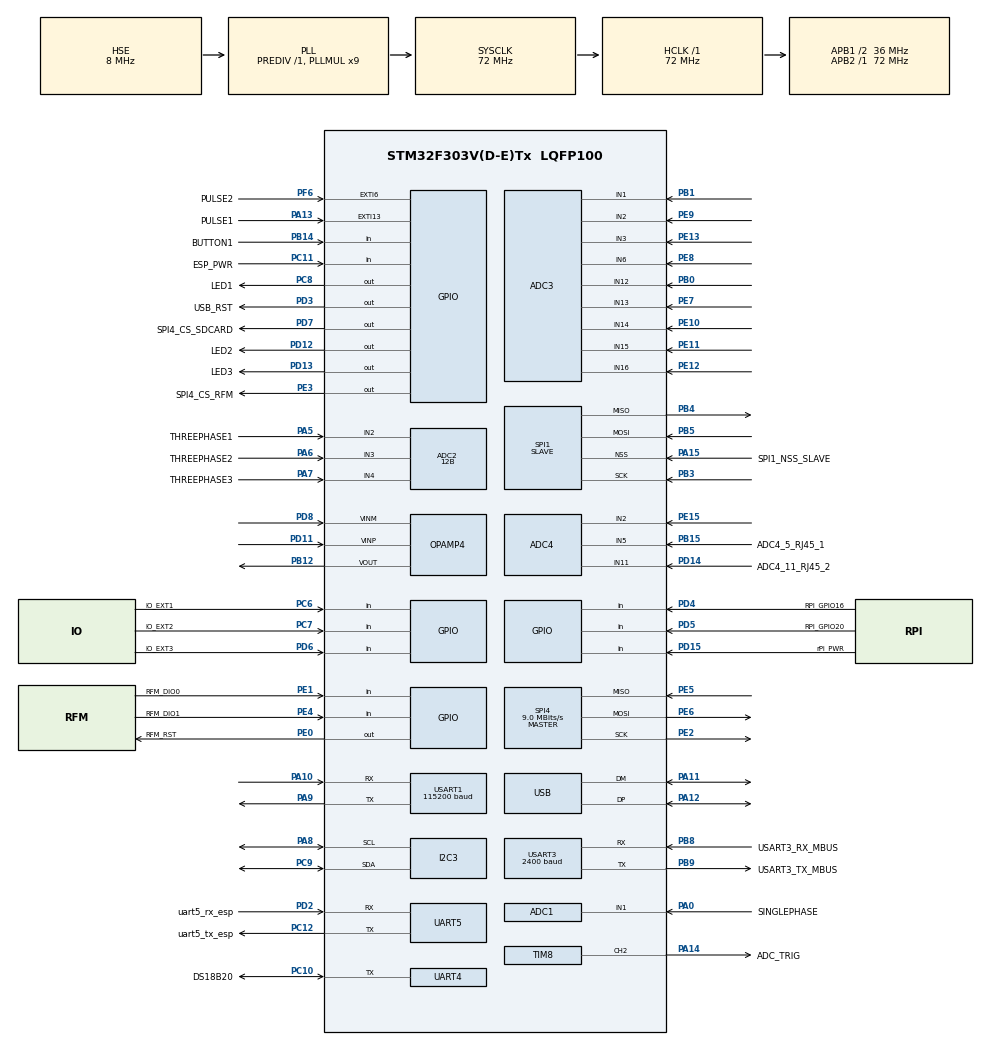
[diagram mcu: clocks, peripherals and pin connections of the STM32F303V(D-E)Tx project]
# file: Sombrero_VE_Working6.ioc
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ADC1.Channel-0\#ChannelRegularConversion=ADC_CHANNEL_1
ADC1.ClockPrescaler=ADC_CLOCK_SYNC_PCLK_DIV4
ADC1.ContinuousConvMode=ENABLE
ADC1.DMAContinuousRequests=ENABLE
ADC1.DataAlign=ADC_DATAALIGN_RIGHT
ADC1.DiscontinuousConvMode=DISABLE
ADC1.EOCSelection=ADC_EOC_SEQ_CONV
ADC1.EnableAnalogWatchDog1=false
ADC1.EnableAnalogWatchDog2=false
ADC1.EnableAnalogWatchDog3=false
ADC1.EnableInjectedConversion=DISABLE
ADC1.EnableRegularConversion=ENABLE
ADC1.ExternalTrigConv=ADC_EXTERNALTRIGCONV_T8_TRGO2
ADC1.ExternalTrigConvEdge=ADC_EXTERNALTRIGCONVEDGE_FALLING
ADC1.LowPowerAutoWait=DISABLE
ADC1.NbrOfConversion=1
ADC1.NbrOfConversionFlag=1
ADC1.Offset-0\#ChannelRegularConversion=0
ADC1.OffsetNumber-0\#ChannelRegularConversion=ADC_OFFSET_NONE
ADC1.Overrun=ADC_OVR_DATA_OVERWRITTEN
ADC1.Rank-0\#ChannelRegularConversion=1
ADC1.Resolution=ADC_RESOLUTION_12B
ADC1.SamplingTime-0\#ChannelRegularConversion=ADC_SAMPLETIME_181CYCLES_5
ADC1.ScanConvMode=ADC_SCAN_DISABLE
ADC1.master=1
ADC2.Channel-0\#ChannelRegularConversion=ADC_CHANNEL_2
ADC2.Channel-1\#ChannelRegularConversion=ADC_CHANNEL_3
ADC2.Channel-2\#ChannelRegularConversion=ADC_CHANNEL_4
ADC2.ClockPrescaler=ADC_CLOCK_SYNC_PCLK_DIV4
ADC2.ContinuousConvMode=ENABLE
ADC2.DMAContinuousRequests=ENABLE
ADC2.DataAlign=ADC_DATAALIGN_RIGHT
ADC2.DiscontinuousConvMode=DISABLE
ADC2.EOCSelection=ADC_EOC_SEQ_CONV
ADC2.EnableAnalogWatchDog1=false
ADC2.EnableAnalogWatchDog2=false
ADC2.EnableAnalogWatchDog3=false
ADC2.EnableInjectedConversion=ENABLE
ADC2.EnableRegularConversion=ENABLE
ADC2.ExternalTrigConv=ADC_EXTERNALTRIGCONV_T8_TRGO2
ADC2.ExternalTrigConvEdge=ADC_EXTERNALTRIGCONVEDGE_FALLING
ADC2.InjNumberOfConversion=0
ADC2.LowPowerAutoWait=DISABLE
ADC2.NbrOfConversion=3
ADC2.NbrOfConversionFlag=1
ADC2.Offset-0\#ChannelRegularConversion=0
ADC2.Offset-1\#ChannelRegularConversion=0
ADC2.Offset-2\#ChannelRegularConversion=0
ADC2.OffsetNumber-0\#ChannelRegularConversion=ADC_OFFSET_NONE
ADC2.OffsetNumber-1\#ChannelRegularConversion=ADC_OFFSET_NONE
ADC2.OffsetNumber-2\#ChannelRegularConversion=ADC_OFFSET_NONE
ADC2.Overrun=ADC_OVR_DATA_OVERWRITTEN
ADC2.Rank-0\#ChannelRegularConversion=1
ADC2.Rank-1\#ChannelRegularConversion=2
ADC2.Rank-2\#ChannelRegularConversion=3
ADC2.Resolution=ADC_RESOLUTION_12B
ADC2.SamplingTime-0\#ChannelRegularConversion=ADC_SAMPLETIME_181CYCLES_5
ADC2.SamplingTime-1\#ChannelRegularConversion=ADC_SAMPLETIME_181CYCLES_5
ADC2.SamplingTime-2\#ChannelRegularConversion=ADC_SAMPLETIME_181CYCLES_5
ADC2.ScanConvMode=ADC_SCAN_ENABLE
ADC3.Channel-0\#ChannelRegularConversion=ADC_CHANNEL_12
ADC3.Channel-1\#ChannelRegularConversion=ADC_CHANNEL_1
ADC3.Channel-2\#ChannelRegularConversion=ADC_CHANNEL_13
ADC3.Channel-3\#ChannelRegularConversion=ADC_CHANNEL_6
ADC3.Channel-4\#ChannelRegularConversion=ADC_CHANNEL_2
ADC3.Channel-5\#ChannelRegularConversion=ADC_CHANNEL_14
ADC3.Channel-6\#ChannelRegularConversion=ADC_CHANNEL_15
ADC3.Channel-7\#ChannelRegularConversion=ADC_CHANNEL_16
ADC3.Channel-8\#ChannelRegularConversion=ADC_CHANNEL_3
ADC3.ClockPrescaler=ADC_CLOCK_SYNC_PCLK_DIV4
ADC3.ContinuousConvMode=ENABLE
ADC3.DMAContinuousRequests=ENABLE
ADC3.EOCSelection=ADC_EOC_SEQ_CONV
ADC3.EnableInjectedConversion=DISABLE
ADC3.ExternalTrigConv=ADC_EXTERNALTRIGCONV_T8_TRGO2
ADC3.NbrOfConversion=9
ADC3.NbrOfConversionFlag=1
ADC3.Offset-0\#ChannelRegularConversion=0
ADC3.Offset-1\#ChannelRegularConversion=0
ADC3.Offset-2\#ChannelRegularConversion=0
ADC3.Offset-3\#ChannelRegularConversion=0
ADC3.Offset-4\#ChannelRegularConversion=0
ADC3.Offset-5\#ChannelRegularConversion=0
ADC3.Offset-6\#ChannelRegularConversion=0
ADC3.Offset-7\#ChannelRegularConversion=0
ADC3.Offset-8\#ChannelRegularConversion=0
ADC3.OffsetNumber-0\#ChannelRegularConversion=ADC_OFFSET_NONE
ADC3.OffsetNumber-1\#ChannelRegularConversion=ADC_OFFSET_NONE
ADC3.OffsetNumber-2\#ChannelRegularConversion=ADC_OFFSET_NONE
ADC3.OffsetNumber-3\#ChannelRegularConversion=ADC_OFFSET_NONE
ADC3.OffsetNumber-4\#ChannelRegularConversion=ADC_OFFSET_NONE
ADC3.OffsetNumber-5\#ChannelRegularConversion=ADC_OFFSET_NONE
ADC3.OffsetNumber-6\#ChannelRegularConversion=ADC_OFFSET_NONE
ADC3.OffsetNumber-7\#ChannelRegularConversion=ADC_OFFSET_NONE
ADC3.OffsetNumber-8\#ChannelRegularConversion=ADC_OFFSET_NONE
ADC3.Rank-0\#ChannelRegularConversion=1
ADC3.Rank-1\#ChannelRegularConversion=2
ADC3.Rank-2\#ChannelRegularConversion=3
ADC3.Rank-3\#ChannelRegularConversion=4
ADC3.Rank-4\#ChannelRegularConversion=5
ADC3.Rank-5\#ChannelRegularConversion=6
ADC3.Rank-6\#ChannelRegularConversion=7
ADC3.Rank-7\#ChannelRegularConversion=8
ADC3.Rank-8\#ChannelRegularConversion=9
ADC3.SamplingTime-0\#ChannelRegularConversion=ADC_SAMPLETIME_181CYCLES_5
ADC3.SamplingTime-1\#ChannelRegularConversion=ADC_SAMPLETIME_181CYCLES_5
ADC3.SamplingTime-2\#ChannelRegularConversion=ADC_SAMPLETIME_181CYCLES_5
ADC3.SamplingTime-3\#ChannelRegularConversion=ADC_SAMPLETIME_181CYCLES_5
ADC3.SamplingTime-4\#ChannelRegularConversion=ADC_SAMPLETIME_181CYCLES_5
ADC3.SamplingTime-5\#ChannelRegularConversion=ADC_SAMPLETIME_181CYCLES_5
ADC3.SamplingTime-6\#ChannelRegularConversion=ADC_SAMPLETIME_181CYCLES_5
ADC3.SamplingTime-7\#ChannelRegularConversion=ADC_SAMPLETIME_181CYCLES_5
ADC3.SamplingTime-8\#ChannelRegularConversion=ADC_SAMPLETIME_181CYCLES_5
ADC3.master=1
ADC4.Channel-0\#ChannelRegularConversion=ADC_CHANNEL_11
ADC4.ClockPrescaler=ADC_CLOCK_SYNC_PCLK_DIV4
ADC4.NbrOfConversionFlag=1
ADC4.Offset-0\#ChannelRegularConversion=0
ADC4.OffsetNumber-0\#ChannelRegularConversion=ADC_OFFSET_NONE
ADC4.Rank-0\#ChannelRegularConversion=1
ADC4.SamplingTime-0\#ChannelRegularConversion=ADC_SAMPLETIME_4CYCLES_5
Dma.ADC1.3.Direction=DMA_PERIPH_TO_MEMORY
Dma.ADC1.3.Instance=DMA1_Channel1
Dma.ADC1.3.MemDataAlignment=DMA_MDATAALIGN_HALFWORD
Dma.ADC1.3.MemInc=DMA_MINC_ENABLE
Dma.ADC1.3.Mode=DMA_CIRCULAR
Dma.ADC1.3.PeriphDataAlignment=DMA_PDATAALIGN_HALFWORD
Dma.ADC1.3.PeriphInc=DMA_PINC_DISABLE
Dma.ADC1.3.Priority=DMA_PRIORITY_HIGH
Dma.ADC2.4.Direction=DMA_PERIPH_TO_MEMORY
Dma.ADC2.4.Instance=DMA2_Channel1
Dma.ADC2.4.MemDataAlignment=DMA_MDATAALIGN_HALFWORD
Dma.ADC2.4.MemInc=DMA_MINC_ENABLE
Dma.ADC2.4.Mode=DMA_CIRCULAR
Dma.ADC2.4.PeriphDataAlignment=DMA_PDATAALIGN_HALFWORD
Dma.ADC2.4.PeriphInc=DMA_PINC_DISABLE
Dma.ADC2.4.Priority=DMA_PRIORITY_HIGH
Dma.ADC3.2.Direction=DMA_PERIPH_TO_MEMORY
Dma.ADC3.2.Instance=DMA2_Channel5
Dma.ADC3.2.MemDataAlignment=DMA_MDATAALIGN_HALFWORD
Dma.ADC3.2.MemInc=DMA_MINC_ENABLE
Dma.ADC3.2.Mode=DMA_CIRCULAR
Dma.ADC3.2.PeriphDataAlignment=DMA_PDATAALIGN_HALFWORD
Dma.ADC3.2.PeriphInc=DMA_PINC_DISABLE
Dma.ADC3.2.Priority=DMA_PRIORITY_HIGH
Dma.Request0=USART1_RX
Dma.Request1=USART3_RX
Dma.Request2=ADC3
Dma.Request3=ADC1
Dma.Request4=ADC2
Dma.USART1_RX.0.Direction=DMA_PERIPH_TO_MEMORY
Dma.USART1_RX.0.Instance=DMA1_Channel5
Dma.USART1_RX.0.MemDataAlignment=DMA_MDATAALIGN_BYTE
Dma.USART1_RX.0.MemInc=DMA_MINC_ENABLE
Dma.USART1_RX.0.Mode=DMA_NORMAL
Dma.USART1_RX.0.PeriphDataAlignment=DMA_PDATAALIGN_BYTE
Dma.USART1_RX.0.PeriphInc=DMA_PINC_DISABLE
Dma.USART1_RX.0.Priority=DMA_PRIORITY_LOW
Dma.USART3_RX.1.Direction=DMA_PERIPH_TO_MEMORY
Dma.USART3_RX.1.Instance=DMA1_Channel3
Dma.USART3_RX.1.MemDataAlignment=DMA_MDATAALIGN_BYTE
Dma.USART3_RX.1.MemInc=DMA_MINC_ENABLE
Dma.USART3_RX.1.Mode=DMA_NORMAL
Dma.USART3_RX.1.PeriphDataAlignment=DMA_PDATAALIGN_BYTE
Dma.USART3_RX.1.PeriphInc=DMA_PINC_DISABLE
Dma.USART3_RX.1.Priority=DMA_PRIORITY_LOW
I2C3.Timing=0x10808DD3
Mcu.Family=STM32F3
Mcu.Name=STM32F303V(D-E)Tx
Mcu.Package=LQFP100
NVIC.ADC1_2_IRQn=true\:0\:0\:false\:false\:true\:true
NVIC.ADC3_IRQn=true\:0\:0\:false\:false\:true\:true
NVIC.DMA1_Channel1_IRQn=true\:0\:0\:false\:false\:true\:false
NVIC.DMA1_Channel3_IRQn=true\:0\:0\:false\:false\:true\:false
NVIC.DMA1_Channel5_IRQn=true\:0\:0\:false\:false\:true\:false
NVIC.DMA2_Channel1_IRQn=true\:0\:0\:false\:false\:true\:false
NVIC.DMA2_Channel5_IRQn=true\:0\:0\:false\:false\:true\:false
NVIC.EXTI15_10_IRQn=true\:0\:0\:false\:false\:true\:true
NVIC.EXTI9_5_IRQn=true\:0\:0\:false\:false\:true\:true
NVIC.PriorityGroup=NVIC_PRIORITYGROUP_4
NVIC.TIM1_UP_TIM16_IRQn=true\:0\:0\:false\:false\:true\:true
NVIC.USART1_IRQn=true\:0\:0\:false\:false\:true\:true
NVIC.USART3_IRQn=true\:0\:0\:false\:false\:true\:true
OPAMP4.SelfCalibration=Enable
OPAMP4.UserTrimming=OPAMP_TRIMMING_USER
PA0.GPIO_Label=SINGLEPHASE
PA0.Mode=IN1-Single-Ended
PA0.Signal=ADC1_IN1
PA10.GPIO_PuPd=GPIO_PULLDOWN
PA10.Mode=Asynchronous
PA10.Signal=USART1_RX
PA11.Mode=Device
PA11.Signal=USB_DM
PA12.Mode=Device
PA12.Signal=USB_DP
PA13.GPIO_Label=PULSE1
PA13.Signal=GPXTI13
PA14.GPIO_Label=ADC_TRIG
PA14.Signal=S_TIM8_CH2
PA15.GPIO_Label=SPI1_NSS_SLAVE
PA15.GPIO_PuPd=GPIO_PULLDOWN
PA15.Mode=NSS_Signal_Hard_Input
PA15.Signal=SPI1_NSS
PA5.GPIO_Label=THREEPHASE1
PA5.Mode=IN2-Single-Ended
PA5.Signal=ADC2_IN2
PA6.GPIO_Label=THREEPHASE2
PA6.Mode=IN3-Single-Ended
PA6.Signal=ADC2_IN3
PA7.GPIO_Label=THREEPHASE3
PA7.Mode=IN4-Single-Ended
PA7.Signal=ADC2_IN4
PA8.Mode=I2C
PA8.Signal=I2C3_SCL
PA9.GPIO_PuPd=GPIO_PULLDOWN
PA9.Mode=Asynchronous
PA9.Signal=USART1_TX
PB0.Mode=IN12-Single-Ended
PB0.Signal=ADC3_IN12
PB1.Mode=IN1-Single-Ended
PB1.Signal=ADC3_IN1
PB12.Mode=Standalone
PB12.Signal=OPAMP4_VOUT
PB14.GPIO_Label=BUTTON1
PB14.GPIO_PuPd=GPIO_PULLDOWN
PB14.Signal=GPIO_Input
PB15.GPIO_Label=ADC4_5_RJ45_1
PB15.Mode=IN5-Single-Ended
PB15.Signal=ADC4_IN5
PB3.GPIO_PuPd=GPIO_PULLDOWN
PB3.Mode=Full_Duplex_Slave
PB3.Signal=SPI1_SCK
PB4.GPIO_PuPd=GPIO_PULLDOWN
PB4.Mode=Full_Duplex_Slave
PB4.Signal=SPI1_MISO
PB5.GPIO_PuPd=GPIO_PULLDOWN
PB5.Mode=Full_Duplex_Slave
PB5.Signal=SPI1_MOSI
PB8.GPIO_Label=USART3_RX_MBUS
PB8.GPIO_PuPd=GPIO_PULLDOWN
PB8.Mode=Asynchronous
PB8.Signal=USART3_RX
PB9.GPIO_Label=USART3_TX_MBUS
PB9.GPIO_PuPd=GPIO_PULLDOWN
PB9.Mode=Asynchronous
PB9.Signal=USART3_TX
PC10.GPIO_Label=DS18B20
PC10.Mode=Half_duplex(single_wire_mode)
PC10.Signal=UART4_TX
PC11.GPIO_Label=ESP_PWR
PC11.GPIO_PuPd=GPIO_PULLDOWN
PC11.Signal=GPIO_Input
PC12.GPIO_Label=uart5_tx_esp
PC12.Mode=Asynchronous
PC12.Signal=UART5_TX
PC14-OSC32_IN.Mode=LSE-External-Oscillator
PC14-OSC32_IN.Signal=RCC_OSC32_IN
PC15-OSC32_OUT.Mode=LSE-External-Oscillator
PC15-OSC32_OUT.Signal=RCC_OSC32_OUT
PC6.GPIO_Label=IO_EXT1
PC6.GPIO_PuPd=GPIO_PULLDOWN
PC6.Signal=GPIO_Input
PC7.GPIO_Label=IO_EXT2
PC7.GPIO_PuPd=GPIO_PULLDOWN
PC7.Signal=GPIO_Input
PC8.GPIO_Label=LED1
PC8.Signal=GPIO_Output
PC9.Mode=I2C
PC9.Signal=I2C3_SDA
PD11.Mode=Standalone
PD11.Signal=OPAMP4_VINP
PD12.GPIO_Label=LED2
PD12.Signal=GPIO_Output
PD13.GPIO_Label=LED3
PD13.Signal=GPIO_Output
PD14.GPIO_Label=ADC4_11_RJ45_2
PD14.Signal=ADCx_IN11
PD15.GPIO_Label=rPi_PWR
PD15.GPIO_PuPd=GPIO_PULLDOWN
PD15.Signal=GPIO_Input
PD2.GPIO_Label=uart5_rx_esp
PD2.Mode=Asynchronous
PD2.Signal=UART5_RX
PD3.GPIO_Label=USB_RST
PD3.PinState=GPIO_PIN_SET
PD3.Signal=GPIO_Output
PD4.GPIO_Label=RPI_GPIO16
PD4.Signal=GPIO_Input
PD5.GPIO_Label=RPI_GPIO20
PD5.Signal=GPIO_Input
PD6.GPIO_Label=IO_EXT3
PD6.GPIO_PuPd=GPIO_PULLDOWN
PD6.Signal=GPIO_Input
PD7.GPIO_Label=SPI4_CS_SDCARD
PD7.Signal=GPIO_Output
PD8.Mode=Standalone
PD8.Signal=OPAMP4_VINM
PE0.GPIO_Label=RFM_RST
PE0.GPIO_PuPd=GPIO_PULLDOWN
PE0.Signal=GPIO_Output
PE1.GPIO_Label=RFM_DIO0
PE1.GPIO_PuPd=GPIO_PULLDOWN
PE1.Signal=GPIO_Input
PE10.Mode=IN14-Single-Ended
PE10.Signal=ADC3_IN14
PE11.Mode=IN15-Single-Ended
PE11.Signal=ADC3_IN15
PE12.Mode=IN16-Single-Ended
PE12.Signal=ADC3_IN16
PE13.Mode=IN3-Single-Ended
PE13.Signal=ADC3_IN3
PE15.Mode=IN2-Single-Ended
PE15.Signal=ADC4_IN2
PE2.GPIO_PuPd=GPIO_PULLDOWN
PE2.Mode=Full_Duplex_Master
PE2.Signal=SPI4_SCK
PE3.GPIO_Label=SPI4_CS_RFM
PE3.Signal=GPIO_Output
PE4.GPIO_Label=RFM_DIO1
PE4.Signal=GPIO_Input
PE5.GPIO_PuPd=GPIO_PULLDOWN
PE5.Mode=Full_Duplex_Master
PE5.Signal=SPI4_MISO
PE6.GPIO_PuPd=GPIO_PULLDOWN
PE6.Mode=Full_Duplex_Master
PE6.Signal=SPI4_MOSI
PE7.Mode=IN13-Single-Ended
PE7.Signal=ADC3_IN13
PE8.Signal=ADCx_IN6P
PE9.Mode=IN2-Single-Ended
PE9.Signal=ADC3_IN2
PF0-OSC_IN.Mode=HSE-External-Oscillator
PF0-OSC_IN.Signal=RCC_OSC_IN
PF1-OSC_OUT.Mode=HSE-External-Oscillator
PF1-OSC_OUT.Signal=RCC_OSC_OUT
PF6.GPIO_Label=PULSE2
PF6.Signal=GPXTI6
ProjectManager.HeapSize=0x200
ProjectManager.StackSize=0x400
ProjectManager.TargetToolchain=Makefile
RCC.AHBFreq_Value=72000000
RCC.APB1CLKDivider=RCC_HCLK_DIV2
RCC.APB1Freq_Value=36000000
RCC.APB1TimFreq_Value=72000000
RCC.APB2Freq_Value=72000000
RCC.APB2TimFreq_Value=72000000
RCC.CortexFreq_Value=72000000
RCC.HCLKFreq_Value=72000000
RCC.HSE_VALUE=8000000
RCC.HSI_VALUE=8000000
RCC.I2c1ClockSelection=RCC_I2C1CLKSOURCE_SYSCLK
RCC.I2c3ClockSelection=RCC_I2C3CLKSOURCE_SYSCLK
RCC.PLLMUL=RCC_PLL_MUL9
RCC.PRESCALERUSB=RCC_USBCLKSOURCE_PLL_DIV1_5
RCC.RTCClockSelection=RCC_RTCCLKSOURCE_LSE
RCC.SYSCLKFreq_VALUE=72000000
RCC.SYSCLKSourceVirtual=RCC_SYSCLKSOURCE_PLLCLK
RCC.USBFreq_Value=48000000
RCC.Uart4ClockSelection=RCC_UART4CLKSOURCE_SYSCLK
RCC.Uart5ClockSelection=RCC_UART5CLKSOURCE_SYSCLK
RCC.Usart1ClockSelection=RCC_USART1CLKSOURCE_SYSCLK
RCC.Usart2ClockSelection=RCC_USART2CLKSOURCE_SYSCLK
RCC.Usart3ClockSelection=RCC_USART3CLKSOURCE_SYSCLK
RTC.SynchPrediv=311
SH.ADCx_IN11.0=ADC3_IN11
SH.ADCx_IN11.1=ADC4_IN11,IN11-Single-Ended
SH.ADCx_IN6P.0=ADC3_IN6,IN6-Single-Ended
SH.S_TIM8_CH2.0=TIM8_CH2,PWM Generation2 CH2
SPI1.DataSize=SPI_DATASIZE_8BIT
SPI1.Direction=SPI_DIRECTION_2LINES
SPI1.Mode=SPI_MODE_SLAVE
SPI1.VirtualNSS=VM_NSSHARD
SPI1.VirtualType=VM_SLAVE
SPI4.BaudRatePrescaler=SPI_BAUDRATEPRESCALER_8
SPI4.CalculateBaudRate=9.0 MBits/s
SPI4.DataSize=SPI_DATASIZE_8BIT
SPI4.Direction=SPI_DIRECTION_2LINES
SPI4.Mode=SPI_MODE_MASTER
SPI4.NSSPMode=SPI_NSS_PULSE_DISABLE
SPI4.VirtualType=VM_MASTER
TIM16.AutoReloadPreload=TIM_AUTORELOAD_PRELOAD_DISABLE
TIM16.Period=9999
TIM16.Prescaler=710
TIM8.AutoReloadPreload=TIM_AUTORELOAD_PRELOAD_DISABLE
TIM8.Channel-PWM\ Generation2\ CH2=TIM_CHANNEL_2
TIM8.Period=9999
TIM8.Prescaler=71
TIM8.TIM_MasterOutputTrigger2=TIM_TRGO2_OC2REF
USART1.BaudRate=115200
USART1.DMADisableonRxErrorParam=ADVFEATURE_DMA_DISABLEONRXERROR
USART1.VirtualMode-Asynchronous=VM_ASYNC
USART3.BaudRate=2400
USART3.Parity=PARITY_EVEN
USART3.VirtualMode-Asynchronous=VM_ASYNC
USART3.WordLength=WORDLENGTH_9B
VP_RTC_VS_RTC_Activate.Mode=RTC_Enabled
VP_RTC_VS_RTC_Calendar.Mode=RTC_Calendar
VP_TIM16_VS_ClockSourceINT.Mode=Enable_Timer
VP_TIM16_VS_OPM.Mode=OPM_bit
board=custom

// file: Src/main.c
/**
  ******************************************************************************
  * @file           : main.c
  * @brief          : Main program body
  ******************************************************************************
  ** This notice applies to any and all portions of this file
  * that are not between comment pairs USER CODE BEGIN and
  * USER CODE END. Other portions of this file, whether
  * inserted by the user or by software development tools
  * are owned by their respective copyright owners.
  *
  * COPYRIGHT(c) 2020 STMicroelectronics
  *
  * Redistribution and use in source and binary forms, with or without modification,
  * are permitted provided that the following conditions are met:
  *   1. Redistributions of source code must retain the above copyright notice,
  *      this list of conditions and the following disclaimer.
  *   2. Redistributions in binary form must reproduce the above copyright notice,
  *      this list of conditions and the following disclaimer in the documentation
  *      and/or other materials provided with the distribution.
  *   3. Neither the name of STMicroelectronics nor the names of its contributors
  *      may be used to endorse or promote products derived from this software
  *      without specific prior written permission.
  *
  * THIS SOFTWARE IS PROVIDED BY THE COPYRIGHT HOLDERS AND CONTRIBUTORS "AS IS"
  * AND ANY EXPRESS OR IMPLIED WARRANTIES, INCLUDING, BUT NOT LIMITED TO, THE
  * IMPLIED WARRANTIES OF MERCHANTABILITY AND FITNESS FOR A PARTICULAR PURPOSE ARE
  * DISCLAIMED. IN NO EVENT SHALL THE COPYRIGHT HOLDER OR CONTRIBUTORS BE LIABLE
  * FOR ANY DIRECT, INDIRECT, INCIDENTAL, SPECIAL, EXEMPLARY, OR CONSEQUENTIAL
  * DAMAGES (INCLUDING, BUT NOT LIMITED TO, PROCUREMENT OF SUBSTITUTE GOODS OR
  * SERVICES; LOSS OF USE, DATA, OR PROFITS; OR BUSINESS INTERRUPTION) HOWEVER
  * CAUSED AND ON ANY THEORY OF LIABILITY, WHETHER IN CONTRACT, STRICT LIABILITY,
  * OR TORT (INCLUDING NEGLIGENCE OR OTHERWISE) ARISING IN ANY WAY OUT OF THE USE
  * OF THIS SOFTWARE, EVEN IF ADVISED OF THE POSSIBILITY OF SUCH DAMAGE.
  *
  ******************************************************************************
  */
#include "main.h"
#include "stm32f3xx_hal.h"
#include "adc.h"
#include "dma.h"
#include "i2c.h"
#include "opamp.h"
#include "rtc.h"
#include "spi.h"
#include "tim.h"
#include "usart.h"
#include "usb.h"
#include "gpio.h"

/* USER CODE BEGIN Includes */
#include <time.h>
#include <math.h>
#include <string.h>
#include <stdbool.h>
#include <stdlib.h>
#include "jsmn.h"
#include "reset.h"
#include "json.h"
#include "power.h"
#include "phase.h"
#include "RFM69.h"
#include "RFM69_ext.h"
// #include "ds18b20.h"
/* USER CODE END Includes */

/* USER CODE BEGIN PV */
/* Private variables ---------------------------------------------------------*/
// test variables
bool testing = false; // for testing
bool dontGiveAMonkeys = false; // don't wait for a VT adaptor to calculate Irms, AP, RP etc.
bool ledBlink = true; // enable or disable LED blinking.

// version information
char hwVersion[] = "1.1";
char fwVersion[] = "0.1";

//-------------
// MODES
//-------------
// 0 = Standalone
// 1 = rPi
// 2 = ESP32
// 3 = testingtestingtestingtestingtestingtestingtesting
int _mode = 0; // init mode
bool rpi_connected = false;

//------------------------------------------------
// timing variables
//------------------------------------------------
uint32_t readings_interval = 500; // millis to read waveform at.
uint32_t posting_interval = 5000; // millis to post data at.

//------------------------------------------------
// misc. flags
//------------------------------------------------
bool first_readings = false;
bool no_volts_flag = false;
bool debugFlag_pulse1 = false;
bool debugFlag_pulse2 = false;
bool debugFlag_Button1 = false;

//----------------------------
// CT Settings : Common
//----------------------------

//----------------------------
// CT Settings : Per Channel
//----------------------------

//----------------------------
// VT Settings : Common
//----------------------------

//------------------------
// Channel Results
//------------------------
typedef struct channel_results_
{
  double Vrms;
  double Irms;
  double ApparentPower;
  double RealPower;
  double PowerFactor;
  bool Clipped;
  int Mains_AC_Cycles; // counting complete waveforms
  long SampleCount;
  int Count;
} channel_results_t;

channel_results_t channel_results[CTn] = {0}; //  init the channel results.

//------------------------
// UART SERIAL BUFFERS
//------------------------

char rx_string[COMMAND_BUFFER_SIZE];
char string_buffer[200];
//char log_buffer[1000];

//----------------
// RADIO
//----------------
bool radioSender = false; // set 'true' to send test data with RFM69.
bool radioReceiver = false; // set 'true' to enable rfm69cw receiving.
static uint16_t networkID = 210; // a.k.a. Network Group
static uint8_t nodeID = 10; // this node's ID (address).
static uint16_t freqBand = 433; // MHz
static uint8_t toAddress = 1; // destination address.
bool requestACK = false; // untested.
static char encryptkey[20] = {'\0'}; // twenty character encrypt key, or  '\0'  for nothing.
//char encryptkey[20] = "asdfasdfasdfasdf"; // twenty character encrypt key, or  '\0'  for nothing.
typedef struct {
  uint32_t nodeId;
  uint32_t uptime;
  //double temperature;   // other data
} Payload;
Payload radioData;

//--------------------
// Time variables
//--------------------
uint32_t current_millis;
uint32_t previous_millis_fine;
uint32_t previous_millis_course;

//----------------
// MISC
//----------------
static uint32_t pulseCount1 = 0;
static uint32_t pulseCount2 = 0;
extern char json_response[40];
extern int boot_number;

/* USER CODE END PV */

void SystemClock_Config(void);

/* USER CODE BEGIN PFP */
/* Private function prototypes -----------------------------------------------*/

/* USER CODE END PFP */

/* USER CODE BEGIN 0 */

//------------------------
// EEPROM Emulation
//------------------------
// Credit to Viktor Vano for the Flash read/write code
// https://github.com/viktorvano/STM32F3Discovery_internal_FLASH

#define FLASH_STORAGE 0x08030000 // Maximum value for STM32F303xE is defined at line 111 of stm32f3xx_hal_flash_ex.h (0x0807FFFFU)
#define page_size 0x800

void save_to_flash(uint8_t *data)
{
	volatile uint32_t data_to_FLASH[(strlen((char*)data)/4)	+ (int)((strlen((char*)data) % 4) != 0)];
	memset((uint8_t*)data_to_FLASH, 0, strlen((char*)data_to_FLASH));
	strcpy((char*)data_to_FLASH, (char*)data);

	volatile uint32_t data_length = (strlen((char*)data_to_FLASH) / 4)
									+ (int)((strlen((char*)data_to_FLASH) % 4) != 0);
	volatile uint16_t pages = (strlen((char*)data)/page_size)
									+ (int)((strlen((char*)data)%page_size) != 0);
	  /* Unlock the Flash to enable the flash control register access *************/
	  HAL_FLASH_Unlock();

	  /* Allow Access to option bytes sector */
	  HAL_FLASH_OB_Unlock();

	  /* Fill EraseInit structure*/
	  FLASH_EraseInitTypeDef EraseInitStruct;
	  EraseInitStruct.TypeErase = FLASH_TYPEERASE_PAGES;
	  EraseInitStruct.PageAddress = FLASH_STORAGE;
	  EraseInitStruct.NbPages = pages;
	  uint32_t PageError;

	  volatile uint32_t write_cnt=0, index=0;

	  volatile HAL_StatusTypeDef status;
	  status = HAL_FLASHEx_Erase(&EraseInitStruct, &PageError);
	  while(index < data_length)
	  {
		  if (status == HAL_OK)
		  {
			  status = HAL_FLASH_Program(FLASH_TYPEPROGRAM_WORD, FLASH_STORAGE+write_cnt, data_to_FLASH[index]);
			  if(status == HAL_OK)
			  {
				  write_cnt += 4;
				  index++;
			  }
		  }
	  }

	  HAL_FLASH_OB_Lock();
	  HAL_FLASH_Lock();
}

void read_flash(uint8_t* data)
{
	volatile uint32_t read_data;
	volatile uint32_t read_cnt=0;
	do
	{
		read_data = *(uint32_t*)(FLASH_STORAGE + read_cnt);
		if(read_data != 0xFFFFFFFF)
		{
			data[read_cnt] = (uint8_t)read_data;
			data[read_cnt + 1] = (uint8_t)(read_data >> 8);
			data[read_cnt + 2] = (uint8_t)(read_data >> 16);
			data[read_cnt + 3] = (uint8_t)(read_data >> 24);
			read_cnt += 4;
		}
	} while(read_data != 0xFFFFFFFF);
}

typedef struct {
  int reset_counter;
  //uint32_t uptime;
  //double temperature;   // other data
} FlashStruct;

FlashStruct flash_struct;

/* USER CODE END 0 */

int main(void)
{
  /* USER CODE BEGIN 1 */
  V_SCALE = VCAL * VOLTS_PER_DIV;
  I_SCALE = ICAL * VOLTS_PER_DIV;

  int _readings_interval = readings_interval; // temporarily store the usable posting period.
  readings_interval = 100; // speed up first discarded reading.

  //FlashStruct *flashpt = &flash_struct;
  //union Un flashUn;

  /* USER CODE END 1 */

  /* MCU Configuration----------------------------------------------------------*/

  /* Reset of all peripherals, Initializes the Flash interface and the Systick. */
  HAL_Init();

  /* Configure the system clock */
  SystemClock_Config();

  /* Initialize all configured peripherals */
  MX_GPIO_Init();
  MX_DMA_Init();
  MX_TIM8_Init();
  MX_ADC1_Init();
  MX_USART1_UART_Init();
  MX_TIM16_Init();
  MX_SPI1_Init();
  MX_SPI4_Init();
  MX_UART4_Init();
  MX_USART3_UART_Init();
  MX_I2C3_Init();
  MX_UART5_Init();
  MX_RTC_Init();
  MX_ADC3_Init();
  MX_OPAMP4_Init();
  MX_ADC4_Init();
  MX_USB_PCD_Init();
  MX_ADC2_Init();
  /* USER CODE BEGIN 2 */

  HAL_Delay(1200); // time necessary to catch first serial output on firmware launch after flash.

  //------------------------
  // UART DMA RX ENABLE
  //------------------------
  __HAL_UART_ENABLE_IT(&huart1, UART_IT_IDLE);
  HAL_UART_Receive_DMA(&huart1, rx_buff, sizeof(rx_buff));
  // __HAL_UART_ENABLE_IT(&huart2, UART_IT_IDLE);
  // HAL_UART_Receive_DMA(&huart2, rx_buff, sizeof(rx_buff));
  //------------------------------
  // UART Non-blocking TX ENABLE
  //------------------------------
  // __HAL_UART_ENABLE_IT(&huart1, UART_IT_TC); // necessary only to know if we're good to fire another Tx soon after a HAL_UART_Transmit_IT()
  // __HAL_UART_ENABLE_IT(&huart2, UART_IT_TC);
  // __HAL_UART_ENABLE_IT(&huart1, UART_IT_TXE); // necessary only to know if we're good to fire another Tx soon after a HAL_UART_Transmit_IT()
  // __HAL_UART_ENABLE_IT(&huart2, UART_IT_TXE);
  // usart1_rx_flag = 1; // debugging

  debug_printf("\r\n\r\nStart, connect VT.\r\n");
  // char startLine[] = "\r\n\r\nStart, connect VT.\r\n";
  // HAL_UART_Transmit_IT(&huart2, (uint8_t*)startLine, strlen(startLine));

  //-------------------------------------------------
  // Analog Input RNG for Radio Start Delay
  //-------------------------------------------------
  if (radioSender) {
    int RadDelayCount = 0, RadioDelay = 0;
    while(RadDelayCount < 3) {
      static int reading;
      static int previousRadDelay;
      previousRadDelay = reading;

      // ADC read start
      HAL_ADC_Start(&hadc4);
      while (HAL_ADC_PollForConversion(&hadc4, 1000) != HAL_OK);
      reading = HAL_ADC_GetValue(&hadc4);
      HAL_ADC_Stop(&hadc4);
      // ADC read end.

      RadioDelay = abs((reading - previousRadDelay + 400) * 10); // scale the 'noise'.
      HAL_Delay(100);
      RadDelayCount++;
    }
    while (!usart_tx_ready); // force wait while usart Tx finishes.
    sprintf(log_buffer, "RadioDelay:%d\r\n", RadioDelay);
    debug_printf(log_buffer);
    HAL_Delay(RadioDelay);

  } // end RadioDelay.

  //------------------------
  // RTC Backup Registers
  //------------------------
  // RTC backup register test, 16 x 32-bit addresses available.
  // see stm32f3xx_hal_rtc_ex.c  line 1118 onwards.
  //uint32_t bkp_write = 123456789;
  uint32_t bkp_ = HAL_RTCEx_BKUPRead(&hrtc, RTC_BKP_DR0);
  while (!usart_tx_ready); // force wait while usart Tx finishes.
  sprintf(log_buffer, "Number of boots:%ld\r\n", bkp_);
  debug_printf(log_buffer);
  boot_number = bkp_;
  HAL_RTCEx_BKUPWrite(&hrtc, RTC_BKP_DR0, bkp_+1);
  // works!

  // RESET CAUSE
  reset_cause_store = reset_cause_get();
  while (!usart_tx_ready); // force wait while usart Tx finishes.
  sprintf(log_buffer, "Reset Cause:%s\r\n", reset_cause_get_name(reset_cause_store));
  debug_printf(log_buffer);

  //------------------------
  // EEPROM Emulation test
  //------------------------
  /*
  char write_data_pgm[50];
  strcpy(write_data_pgm, "Hellow from Flash Memory!\r\n");
  save_to_flash((uint8_t*) write_data_pgm);
  char read_data_pgm[50];
  read_flash((uint8_t*)read_data_pgm);
  debug_printf(read_data_pgm); // print result

  float write_float_pgm = 123.321f;
  float *pointer_write_float = &write_float_pgm;
  save_to_flash((uint8_t*)pointer_write_float);
  float read_float_pgm = 0.0;
  float *pointer_read_float = &read_float_pgm;
  read_flash((uint8_t*)pointer_read_float);
  //char log_buffer[20];
  sprintf(log_buffer, "Float value also read from flash memory! %.3f\r\n", read_float_pgm);
  debug_printf(log_buffer); log_buffer[0] = 0; // print result
  */

  // int test_array_mode[5] = {2,1,3,4,5};
  // sprintf(log_buffer, "test mode-finding: %d\r\n", findmode(test_array_mode, 5));
  // debug_printf(log_buffer); log_buffer[0] = 0; // print result
  // seems findmode() will return the first value of the array if no mode value is found.

  //------------------------
  // is the rPi Connected?
  //------------------------
  if (HAL_GPIO_ReadPin(rPi_PWR_GPIO_Port, rPi_PWR_Pin) == 1)
  {
    debug_printf("rPi connected!\r\n");
    _mode = 1; // rpi mode.
    rpi_connected = true;
  }
  else {
    debug_printf("rPi not connected.\r\n");
    // _mode = 0;
  }

  //------------------------
  // RADIO Init
  //------------------------
  RFM69_RST();
  HAL_Delay(20);
  if (RFM69_initialize(freqBand, nodeID, networkID))
  {
    while (!usart_tx_ready); // force wait while usart Tx finishes.
    sprintf(log_buffer, "RFM69 Initialized. Freq %dMHz. Node %d. Group %d.\r\n", freqBand, nodeID, networkID);
    debug_printf(log_buffer);
    //RFM69_readAllRegs(); // debug output
  }
  else {
    debug_printf("RFM69 not connected.\r\n");
    radioSender = false; radioSender = false;
  }

  // if we have a encryption key, radio encryption will be set.
  if (encryptkey[0]) RFM69_encrypt(encryptkey);

  if (!radioReceiver && !radioSender) {
    HAL_SPI_MspDeInit(&hspi4); // disable SPI4 if radio is disabled.
    debug_printf("SPI4 DeInit'd.\r\n");
  }
  //else {
  //RFM69_interruptHandler();
  //RFM69_receiveDone();
  //}

  //------------------------
  // ADC & OPAMP Start
  //------------------------
  HAL_ADCEx_Calibration_Start(&hadc1, ADC_SINGLE_ENDED);
  HAL_ADCEx_Calibration_Start(&hadc3, ADC_SINGLE_ENDED);
  HAL_Delay(2);
  HAL_OPAMP_SelfCalibrate(&hopamp4);
  HAL_OPAMP_Start(&hopamp4);
  HAL_Delay(2);
  start_ADCs(usec_lag);

  //init_ds18b20s(); // temperature sensor

  debug_printf("\r\n");

  // sensible start times..
  current_millis = HAL_GetTick();
  previous_millis_course = current_millis;
  previous_millis_fine = current_millis;

  /* USER CODE END 2 */

  /* Infinite loop */
  /* USER CODE BEGIN WHILE */
  while (1)
  {
    current_millis = HAL_GetTick();

    // process_ds18b20s();

    //------------------------------------------
    // Interval for accumulating power readings.
    //------------------------------------------
    if (current_millis - previous_millis_fine >= readings_interval)
    {
      uint16_t correction = current_millis - previous_millis_fine - readings_interval;
      previous_millis_fine = current_millis - correction;

      if (readings_requested) no_volts_flag = true;

      readings_requested = true;

      // RTC debug
      //RTC_CalendarShow(aShowTime, aShowDate);
      //debug_printf((char*)aShowDate); debug_printf("\r\n");
      //debug_printf((char*)aShowTime); debug_printf("\r\n");
    }

    //------------------------------------------------
    // ADC DMA buffer flags. Process Frames.
    //------------------------------------------------
    if (conv_hfcplt_flag)
    {
      conv_hfcplt_flag = false;
      process_frame(0); // process 1st half of buffer.
    }
    if (conv_cplt_flag)
    {
      conv_cplt_flag = false;
      process_frame(adc_buff_half_size); // process 2nd half of buffer.
    }
    // HAL_Delay(200); // ADC buffer overrun flag test.

    //------------------------------------------------
    // To post primary data.
    //------------------------------------------------
    if (readings_ready)
    {
        readings_ready = false;
        memset(channel_rdy_bools, 0, sizeof(channel_rdy_bools)); // clear flags.

        if (!first_readings) {
          readings_interval = _readings_interval;
          first_readings = true;
          previous_millis_course = current_millis;

          while (!usart_tx_ready); // force wait while usart Tx finishes.
          sprintf(log_buffer, "Start Sampling Millis: %ld\r\n", current_millis); // initital write to buffer.
          debug_printf(log_buffer);

          goto EndJump;
        } // discard the first set as beginning of 1st waveform not tracked.

        while (!usart_tx_ready); // force wait while usart Tx finishes.
        sprintf(log_buffer, "{STM_HW:%s,STM_FW:%s,\r\n", hwVersion, fwVersion); // initital write to buffer.
        if (rpi_connected) sprintf(log_buffer, "STM_HW:%s,STM_FW:%s,", hwVersion, fwVersion); // initital write to buffer.

        // CALCULATE POWER
        for (int ch = 0; ch < CTn; ch++)
        {
          channel_t *chn = &channels_ready[ch];
          channel_results_t *chn_result = &channel_results[ch];

          last_powerFactor[ch] = powerFactor_now[ch];
          calcPower(ch);
          powerFactor_now[ch] = powerFactor;
          pfHunt(ch);

          if (chn->Iclipped) { chn_result->Clipped = true; chn->Iclipped = false; }

          if (ch == 0) { // estimate mains_frequency on a single channel, no need for more.
            mains_frequency = 1.0/(((chn->samplecount * CTn) / chn->cycles) * adc_conversion_time);
          }

          chn_result->Vrms += Vrms;
          chn_result->Irms += Irms;
          chn_result->ApparentPower += apparentPower;
          chn_result->RealPower += realPower;
          chn_result->PowerFactor += powerFactor;
          chn_result->Mains_AC_Cycles += chn->cycles;
          chn_result->SampleCount += chn->samplecount;
          chn_result->Count++;
        }
    }

    // -----------------
    // POSTING SECTION
    // -----------------
    current_millis = HAL_GetTick();
    if (current_millis - previous_millis_course >= posting_interval) { // now to take the channel results, average them and post them.
        uint16_t correction = current_millis - previous_millis_course - posting_interval;
        previous_millis_course = current_millis - correction;

        if(ledBlink) { HAL_GPIO_WritePin(LED2_GPIO_Port, LED2_Pin, GPIO_PIN_SET); } // blink the led

        if (no_volts_flag) {
          while (!usart_tx_ready); // force wait while usart Tx finishes.
          sprintf(log_buffer, "No voltage waveform present.\r\n"); // initital write to buffer.
          debug_printf(log_buffer);
          no_volts_flag = false; // reset.
          goto SkipPost;
        }

        for (int ch = 0; ch < CTn; ch++) {
          channel_results_t *chn_result = &channel_results[ch];

          chn_result->Vrms /= chn_result->Count;
          chn_result->Irms /= chn_result->Count;
          chn_result->ApparentPower /= chn_result->Count;
          chn_result->RealPower /= chn_result->Count;
          chn_result->PowerFactor /= chn_result->Count;

          int _ch = ch + 1; // nicer looking channel numbers. First channel starts at 1 instead of 0.
          //if (_ch == 1) { // single channel debug output.
          if (rpi_connected) { sprintf(string_buffer, "V%d:%.2lf,I%d:%.3lf,AP%d:%.1lf,RP%d:%.1lf,PF%d:%.6lf,Joules%d:%.3lf,Clip%d:%d,cycles%d:%d,samples%d:%ld,", _ch, chn_result->Vrms, _ch, chn_result->Irms, _ch, chn_result->ApparentPower, _ch, chn_result->RealPower, _ch, chn_result->PowerFactor, _ch, Ws_accumulator[ch], _ch, chn_result->Clipped, _ch, chn_result->Mains_AC_Cycles, _ch, chn_result->SampleCount); }
          else { sprintf(string_buffer, "V%d:%.2lf,I%d:%.3lf,AP%d:%.1lf,RP%d:%.1lf,PF%d:%.6lf,Joules%d:%.3lf,Clip%d:%d,cycles%d:%d,samples%d:%ld,\r\n", _ch, chn_result->Vrms, _ch, chn_result->Irms, _ch, chn_result->ApparentPower, _ch, chn_result->RealPower, _ch, chn_result->PowerFactor, _ch, Ws_accumulator[ch], _ch, chn_result->Clipped, _ch, chn_result->Mains_AC_Cycles, _ch, chn_result->SampleCount); }
          strcat(log_buffer, string_buffer);
          //} // single channel debug output
          chn_result->Clipped = false;
        }

        // Main frequency estimate.
        sprintf(string_buffer, "Hz:%.2f,", mains_frequency);
        strcat(log_buffer, string_buffer);

        // Millis
        sprintf(string_buffer, "millis:%ld,", current_millis);
        strcat(log_buffer, string_buffer);

        // Pulsecounters
        sprintf(string_buffer, "PC1:%ld,", pulseCount1);
        strcat(log_buffer, string_buffer);
        sprintf(string_buffer, "PC2:%ld,", pulseCount2);
        strcat(log_buffer, string_buffer);

        // has the adc buffer overrun?
        sprintf(string_buffer, "buffOverrun:%d", adc_buffer_overflow);
        adc_buffer_overflow = 0; // reset
        strcat(log_buffer, string_buffer);

        // close the string and add some whitespace for clarity.
        if (!rpi_connected) { strcat(log_buffer, "}"); }
        strcat(log_buffer, "\r\n");
        debug_printf(log_buffer);

        // RFM69 send.
        if (radioSender) // sending data, test data only.
        {
          radioData.nodeId = nodeID;
          radioData.uptime = HAL_GetTick();
          if(ledBlink) { HAL_GPIO_WritePin(LED3_GPIO_Port, LED3_Pin, 1); HAL_TIM_Base_Start_IT(&htim16); }// LED blink
          RFM69_send(toAddress, (const void *)(&radioData), sizeof(radioData), requestACK);
          while (!usart_tx_ready); // force wait while usart Tx finishes.
          debug_printf("radio Tx\r\n");
          //RFM69_sendWithRetry(toAddress, (const void *)(&radioData), sizeof(radioData), 3,20);
        }

        SkipPost:
        // reset accumulators.
        for (int ch = 0; ch < CTn; ch++) {
                channel_results_t *chn_result = &channel_results[ch];
                memset((void*)chn_result, 0, sizeof(channel_results_t));
        }

        if(ledBlink) {HAL_GPIO_WritePin(LED2_GPIO_Port, LED2_Pin, GPIO_PIN_RESET); }

    } EndJump: // end main readings_ready function.
    // end main readings_ready functions.
    // end main readings_ready functions.
    // end main readings_ready functions.

    //-------------------------------
    // RFM69 Rx
    //-------------------------------
    // This needs checking, does a flag need generating from a DIO0 read = true?
    if(radioReceiver) {
      if (RFM69_ReadDIO0Pin()) {
        debug_printf("RFM69 DIO0 high.\r\n");
        //RFM69_interruptHandler();
        if (RFM69_receiveDone()) { // this maybe shouldn't be nested in the previous if(). If Rx doesn't work, could be the problem.
          HAL_GPIO_WritePin(GPIOD, GPIO_PIN_8, 1); // LED blink
          HAL_TIM_Base_Start_IT(&htim16); // LED blink, interrupt based.
          // debug output below.
          debug_printf("RFM69 payload received.\r\n");
          PrintRawBytes();
          //PrintStruct();
          //PrintByteByByte();
          //RFM69_interruptHandler();
          while (!usart_tx_ready); // force wait while usart Tx finishes.
          sprintf(log_buffer, "RSSI:%d\r\n", rssi);
          debug_printf(log_buffer);

          RFM69_receiveBegin();
          //RFM69_receiveDone(); // seems to be required.
        }
      }
    } // end radioReceiver

    /*  // below for testing radio Noise
    if (radioSender) // sending data, test data only.
      {
        HAL_GPIO_WritePin(GPIOD, GPIO_PIN_8, 1); // LED blink
        HAL_TIM_Base_Start_IT(&htim16); // LED blink, interrupt based.
        radioData.nodeId = nodeID;
        radioData.uptime = HAL_GetTick();
        if(ledBlink){HAL_GPIO_WritePin(GPIOD, GPIO_PIN_8, 1); HAL_TIM_Base_Start_IT(&htim16); }// LED blink
        RFM69_send(toAddress, (const void *)(&radioData), sizeof(radioData), requestACK);
        //RFM69_sendWithRetry(toAddress, (const void *)(&radioData), sizeof(radioData), 3,20);
      }
    */

    //------------------------
    // UART Rx check
    //------------------------
    if (usart1_rx_flag)
    {
      usart1_rx_flag = 0;
      memcpy(rx_string, rx_buff, sizeof(rx_buff));
      memset(rx_buff, 0, sizeof(rx_buff));
      huart1.hdmarx->Instance->CCR &= ~DMA_CCR_EN;
      huart1.hdmarx->Instance->CNDTR = sizeof(rx_buff);
      huart1.hdmarx->Instance->CCR |= DMA_CCR_EN; // reset dma counter
      //json_parser("{G:RTC}"); // calling this loads json_response[] with a response.
      json_parser(rx_string); // calling this loads json_response[] with a response.
      while (!usart_tx_ready); // force wait while usart Tx finishes.
      sprintf(log_buffer, "{STM32:%s}\r\n", json_response);
      debug_printf(log_buffer);
    }
    // if (usart2_rx_flag)
    // {
    //   //-----
    //     //phase_corrections[0] = 13; // slap a value in there to test with.
    //     //hunt_PF[0] = true; // test powerfactor hunting on CT1.
    //   //-----
    //   usart2_rx_flag = 0;
    //   memcpy(rx_string, rx_buff, sizeof(rx_buff));
    //   memset(rx_buff, 0, sizeof(rx_buff));
    //   huart2.hdmarx->Instance->CCR &= ~DMA_CCR_EN;
    //   huart2.hdmarx->Instance->CNDTR = sizeof(rx_buff);
    //   huart2.hdmarx->Instance->CCR |= DMA_CCR_EN; // reset dma counter
    //   json_parser(rx_string); // calling this loads json_response[] with a response.
    //   while (!usart_tx_ready); // force wait while usart Tx finishes.
    //   sprintf(log_buffer, "{STM32:%s}\r\n", json_response);
    //   debug_printf(log_buffer);
    // }

    //-------------------------------
    // Print char buffers to serial.
    //-------------------------------
    // if (log_buffer[0] != '\0') { // null terminated strings!
    //   rPi_printf(log_buffer);
    //    // set index of string to null to effectively delete the string.
    //   // https://stackoverflow.com/questions/632846/clearing-a-char-array-c
    // }
    // if (log_buffer[0] != '\0') {
    //   rPi_printf(log_buffer);
    //   log_buffer[0] = '\0';
    // }

  /* USER CODE END WHILE */

  /* USER CODE BEGIN 3 */
    if (debugFlag_pulse1) {
      debug_printf("Pulse Ch1 Detected.\r\n");
      debugFlag_pulse1 = false;
    }
    if (debugFlag_pulse2) {
      debug_printf("Pulse Ch2 Detected.\r\n");
      debugFlag_pulse2 = false;
    }
    if (debugFlag_Button1) {
      debug_printf("Button Pressed!\r\n");
      debugFlag_Button1 = false;
    }
  }
  /* USER CODE END 3 */

}

void SystemClock_Config(void)
{

  RCC_OscInitTypeDef RCC_OscInitStruct;
  RCC_ClkInitTypeDef RCC_ClkInitStruct;
  RCC_PeriphCLKInitTypeDef PeriphClkInit;

    /**Configure LSE Drive Capability
    */
  HAL_PWR_EnableBkUpAccess();

  __HAL_RCC_LSEDRIVE_CONFIG(RCC_LSEDRIVE_LOW);

    /**Initializes the CPU, AHB and APB busses clocks
    */
  RCC_OscInitStruct.OscillatorType = RCC_OSCILLATORTYPE_HSE|RCC_OSCILLATORTYPE_LSE;
  RCC_OscInitStruct.HSEState = RCC_HSE_ON;
  RCC_OscInitStruct.LSEState = RCC_LSE_ON;
  RCC_OscInitStruct.HSIState = RCC_HSI_ON;
  RCC_OscInitStruct.PLL.PLLState = RCC_PLL_ON;
  RCC_OscInitStruct.PLL.PLLSource = RCC_PLLSOURCE_HSE;
  RCC_OscInitStruct.PLL.PLLMUL = RCC_PLL_MUL9;
  RCC_OscInitStruct.PLL.PREDIV = RCC_PREDIV_DIV1;
  if (HAL_RCC_OscConfig(&RCC_OscInitStruct) != HAL_OK)
  {
    _Error_Handler(__FILE__, __LINE__);
  }

    /**Initializes the CPU, AHB and APB busses clocks
    */
  RCC_ClkInitStruct.ClockType = RCC_CLOCKTYPE_HCLK|RCC_CLOCKTYPE_SYSCLK
                              |RCC_CLOCKTYPE_PCLK1|RCC_CLOCKTYPE_PCLK2;
  RCC_ClkInitStruct.SYSCLKSource = RCC_SYSCLKSOURCE_PLLCLK;
  RCC_ClkInitStruct.AHBCLKDivider = RCC_SYSCLK_DIV1;
  RCC_ClkInitStruct.APB1CLKDivider = RCC_HCLK_DIV2;
  RCC_ClkInitStruct.APB2CLKDivider = RCC_HCLK_DIV1;

  if (HAL_RCC_ClockConfig(&RCC_ClkInitStruct, FLASH_LATENCY_2) != HAL_OK)
  {
    _Error_Handler(__FILE__, __LINE__);
  }

  PeriphClkInit.PeriphClockSelection = RCC_PERIPHCLK_USB|RCC_PERIPHCLK_USART1
                              |RCC_PERIPHCLK_USART3|RCC_PERIPHCLK_UART4
                              |RCC_PERIPHCLK_UART5|RCC_PERIPHCLK_I2C3
                              |RCC_PERIPHCLK_RTC|RCC_PERIPHCLK_TIM16
                              |RCC_PERIPHCLK_TIM8;
  PeriphClkInit.Usart1ClockSelection = RCC_USART1CLKSOURCE_SYSCLK;
  PeriphClkInit.Usart3ClockSelection = RCC_USART3CLKSOURCE_SYSCLK;
  PeriphClkInit.Uart4ClockSelection = RCC_UART4CLKSOURCE_SYSCLK;
  PeriphClkInit.Uart5ClockSelection = RCC_UART5CLKSOURCE_SYSCLK;
  PeriphClkInit.I2c3ClockSelection = RCC_I2C3CLKSOURCE_SYSCLK;
  PeriphClkInit.RTCClockSelection = RCC_RTCCLKSOURCE_LSE;
  PeriphClkInit.USBClockSelection = RCC_USBCLKSOURCE_PLL_DIV1_5;
  PeriphClkInit.Tim16ClockSelection = RCC_TIM16CLK_HCLK;
  PeriphClkInit.Tim8ClockSelection = RCC_TIM8CLK_HCLK;
  if (HAL_RCCEx_PeriphCLKConfig(&PeriphClkInit) != HAL_OK)
  {
    _Error_Handler(__FILE__, __LINE__);
  }

    /**Configure the Systick interrupt time
    */
  HAL_SYSTICK_Config(HAL_RCC_GetHCLKFreq()/1000);

    /**Configure the Systick
    */
  HAL_SYSTICK_CLKSourceConfig(SYSTICK_CLKSOURCE_HCLK);

  /* SysTick_IRQn interrupt configuration */
  HAL_NVIC_SetPriority(SysTick_IRQn, 0, 0);
}

/* USER CODE BEGIN 4 */
void HAL_GPIO_EXTI_Callback (uint16_t GPIO_Pin) {
  if (GPIO_Pin == PULSE1_Pin) {
    debugFlag_pulse1 = true;
    pulseCount1++;
  }
  if (GPIO_Pin == PULSE2_Pin) {
    debugFlag_pulse2 = true;
    pulseCount2++;
  }
  if (GPIO_Pin == BUTTON1_Pin) {
    debugFlag_Button1 = true;
  }
}

void HAL_UART_TxCpltCallback(UART_HandleTypeDef *huart) {
  if (huart == &huart1) {
    // HAL_UART_Transmit(&huart2, "test\r\n", 7, 1000);
    usart_tx_ready = true;
  }
}

/* USER CODE END 4 */

void _Error_Handler(char *file, int line)
{
  /* USER CODE BEGIN Error_Handler_Debug */
  /* User can add his own implementation to report the HAL error return state */
  while (1)
  {
    while (!usart_tx_ready); // force wait while usart Tx finishes.
    sprintf(log_buffer, "sys_error:%s,line:%d\r\n", file, line);
    debug_printf(log_buffer);
  }
  /* USER CODE END Error_Handler_Debug */
}

/************************ (C) COPYRIGHT STMicroelectronics *****END OF FILE****/
